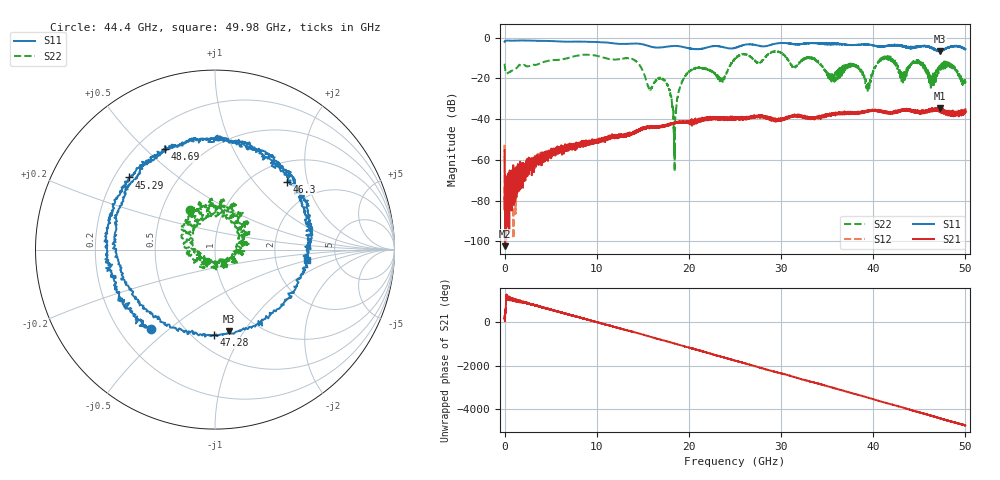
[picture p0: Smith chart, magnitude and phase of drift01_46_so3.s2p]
!Created with skrf (http://scikit-rf.org).
# Hz S RI R 50.0
!freq ReS11 ImS11 ReS21 ImS21 ReS12 ImS12 ReS22 ImS22
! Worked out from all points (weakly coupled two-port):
!   10001 points, 300 kHz to 50 GHz, reference 50 ohm
!   highest |S21| = -34.56 dB at 47.2 GHz (marker M1); lowest = -102.4 dB at 75.3 MHz (marker M2)
!   lowest |S11| = -6.8 dB at 47.21 GHz (marker M3), VSWR 2.70, Z = 37.4 - j43 ohm
!   |S11| at or under -10 dB: nowhere
!   |S22| runs from -65.7 to -6.6 dB; largest |S21 - S12| = 0.0035
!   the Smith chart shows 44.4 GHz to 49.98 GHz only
!   S11 on the Smith chart (normalised r, x): 44.4 GHz: 0.33, -0.44; 45.29 GHz: 0.26, +0.34; 46.3 GHz: 1.39, +1.52; 47.28 GHz: 0.63, -0.77; 48.69 GHz: 0.31, +0.57; 49.98 GHz: 3.06, -0.47
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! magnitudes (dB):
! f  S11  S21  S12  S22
! 300 kHz  -2.0  -55.3  -52.6  -12.8
! 75.3 MHz  -1.5  -102.4  -80.2  -16.0
! 8.335 GHz  -2.0  -51.7  -52.4  -8.5
! 16.67 GHz  -4.9  -43.9  -43.4  -19.9
! 17.74 GHz  -4.3  -42.8  -42.6  -23.8
! 18.43 GHz  -4.1  -41.9  -42.0  -58.1
! 19.9 GHz  -5.1  -41.7  -41.7  -17.1
! 23.6 GHz  -4.5  -39.3  -39.7  -20.2
! 25 GHz  -5.0  -39.2  -40.0  -10.5
! 33.34 GHz  -2.6  -39.4  -39.3  -9.9
! 39.35 GHz  -3.3  -36.0  -36.2  -22.5
! 41.67 GHz  -3.9  -36.8  -36.9  -9.8
! 43.17 GHz  -4.3  -35.2  -35.5  -17.9
! 44.4 GHz  -4.9  -35.5  -36.4  -11.6
! 45.29 GHz  -4.1  -36.5  -36.3  -13.7
! 46.3 GHz  -5.1  -35.9  -35.7  -22.8
! 47.2 GHz  -6.5  -34.6  -35.2  -13.9
! 47.21 GHz  -6.8  -35.6  -35.4  -14.3
! 47.28 GHz  -6.5  -34.9  -36.0  -16.4
! 48.69 GHz  -4.1  -37.7  -37.2  -13.9
! 49.98 GHz  -5.7  -36.5  -37.1  -21.9
! 50 GHz  -5.6  -35.1  -35.8  -21.7
